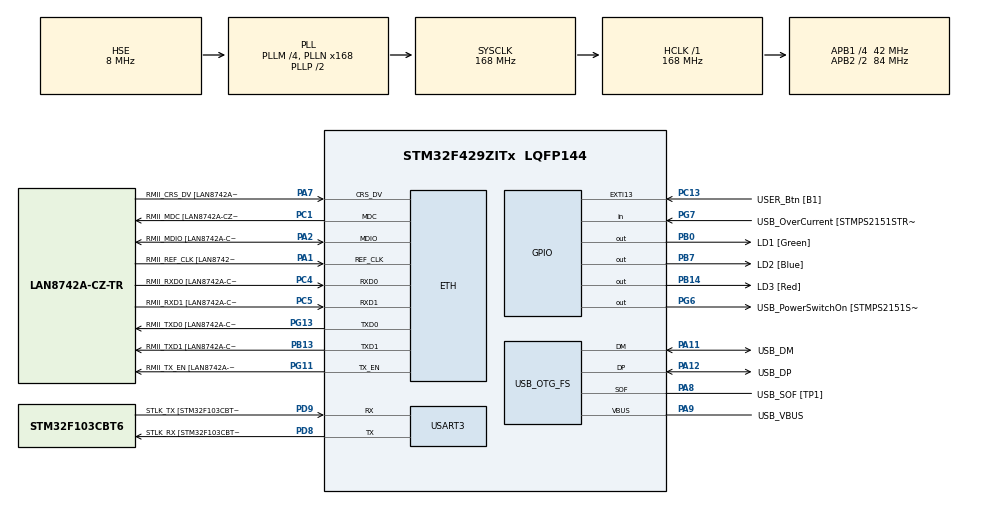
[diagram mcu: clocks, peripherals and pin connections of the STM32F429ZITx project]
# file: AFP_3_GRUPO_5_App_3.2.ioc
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ETH.MediaInterface=HAL_ETH_RMII_MODE
ETH.PHY_Name=LAN8742A_PHY_ADDRESS
ETH.PHY_Value=0
ETH.PhyAddress=0
Mcu.Family=STM32F4
Mcu.Name=STM32F429ZITx
Mcu.Package=LQFP144
NVIC.PriorityGroup=NVIC_PRIORITYGROUP_4
PA1.GPIO_Label=RMII_REF_CLK [LAN8742A-CZ-TR_REFCLK0]
PA1.Mode=RMII
PA1.Signal=ETH_REF_CLK
PA10.GPIO_Label=USB_ID
PA10.Signal=USB_OTG_FS_ID
PA11.GPIO_Label=USB_DM
PA11.Mode=Device_Only
PA11.Signal=USB_OTG_FS_DM
PA12.GPIO_Label=USB_DP
PA12.Mode=Device_Only
PA12.Signal=USB_OTG_FS_DP
PA13.GPIO_Label=TMS
PA13.Mode=Serial_Wire
PA13.Signal=SYS_JTMS-SWDIO
PA14.GPIO_Label=TCK
PA14.Mode=Serial_Wire
PA14.Signal=SYS_JTCK-SWCLK
PA2.GPIO_Label=RMII_MDIO [LAN8742A-CZ-TR_MDIO]
PA2.Mode=RMII
PA2.Signal=ETH_MDIO
PA7.GPIO_Label=RMII_CRS_DV [LAN8742A-CZ-TR_CRS_DV]
PA7.Mode=RMII
PA7.Signal=ETH_CRS_DV
PA8.GPIO_Label=USB_SOF [TP1]
PA8.Mode=Activate_SOF_FS
PA8.Signal=USB_OTG_FS_SOF
PA9.GPIO_Label=USB_VBUS
PA9.Mode=Activate_VBUS
PA9.Signal=USB_OTG_FS_VBUS
PB0.GPIO_Label=LD1 [Green]
PB0.Signal=GPIO_Output
PB13.GPIO_Label=RMII_TXD1 [LAN8742A-CZ-TR_TXD1]
PB13.Mode=RMII
PB13.Signal=ETH_TXD1
PB14.GPIO_Label=LD3 [Red]
PB14.Signal=GPIO_Output
PB7.GPIO_Label=LD2 [Blue]
PB7.Signal=GPIO_Output
PC1.GPIO_Label=RMII_MDC [LAN8742A-CZ-TR_MDC]
PC1.Mode=RMII
PC1.Signal=ETH_MDC
PC13.GPIO_Label=USER_Btn [B1]
PC13.Signal=GPXTI13
PC14/OSC32_IN.Mode=LSE-External-Oscillator
PC14/OSC32_IN.Signal=RCC_OSC32_IN
PC15/OSC32_OUT.Mode=LSE-External-Oscillator
PC15/OSC32_OUT.Signal=RCC_OSC32_OUT
PC4.GPIO_Label=RMII_RXD0 [LAN8742A-CZ-TR_RXD0]
PC4.Mode=RMII
PC4.Signal=ETH_RXD0
PC5.GPIO_Label=RMII_RXD1 [LAN8742A-CZ-TR_RXD1]
PC5.Mode=RMII
PC5.Signal=ETH_RXD1
PD8.GPIO_Label=STLK_RX [STM32F103CBT6_PA3]
PD8.Mode=Asynchronous
PD8.Signal=USART3_TX
PD9.GPIO_Label=STLK_TX [STM32F103CBT6_PA2]
PD9.Mode=Asynchronous
PD9.Signal=USART3_RX
PG11.GPIO_Label=RMII_TX_EN [LAN8742A-CZ-TR_TXEN]
PG11.Mode=RMII
PG11.Signal=ETH_TX_EN
PG13.GPIO_Label=RMII_TXD0 [LAN8742A-CZ-TR_TXD0]
PG13.Mode=RMII
PG13.Signal=ETH_TXD0
PG6.GPIO_Label=USB_PowerSwitchOn [STMPS2151STR_EN]
PG6.Signal=GPIO_Output
PG7.GPIO_Label=USB_OverCurrent [STMPS2151STR_FAULT]
PG7.Signal=GPIO_Input
PH0/OSC_IN.GPIO_Label=MCO [STM32F103CBT6_PA8]
PH0/OSC_IN.Mode=HSE-External-Clock-Source
PH0/OSC_IN.Signal=RCC_OSC_IN
PH1/OSC_OUT.Mode=HSE-External-Clock-Source
PH1/OSC_OUT.Signal=RCC_OSC_OUT
ProjectManager.HeapSize=0x200
ProjectManager.StackSize=0x400
ProjectManager.TargetToolchain=STM32CubeIDE
RCC.48MHZClocksFreq_Value=48000000
RCC.AHBFreq_Value=168000000
RCC.APB1CLKDivider=RCC_HCLK_DIV4
RCC.APB1Freq_Value=42000000
RCC.APB1TimFreq_Value=84000000
RCC.APB2CLKDivider=RCC_HCLK_DIV2
RCC.APB2Freq_Value=84000000
RCC.APB2TimCLKDivider=2
RCC.APB2TimFreq_Value=168000000
RCC.CortexFreq_Value=168000000
RCC.HCLKFreq_Value=168000000
RCC.HSE_VALUE=8000000
RCC.HSI_VALUE=16000000
RCC.PLLM=4
RCC.PLLMUL=RCC_PLL_MUL9
RCC.PLLN=168
RCC.PLLQ=7
RCC.PRESCALERUSB=RCC_USBCLKSOURCE_PLL_DIV1_5
RCC.SYSCLKFreq_VALUE=168000000
RCC.SYSCLKSource=RCC_SYSCLKSOURCE_PLLCLK
RCC.SYSCLKSourceVirtual=RCC_SYSCLKSOURCE_PLLCLK
RCC.USBFreq_Value=48000000
RCC.VCOOutputFreq_Value=336000000
USART3.VirtualMode=VM_ASYNC
USB_OTG_FS.VirtualMode=Device_Only
board=NUCLEO-F429ZI

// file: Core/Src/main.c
/* USER CODE BEGIN Header */
/**
  ******************************************************************************
  * @file           : main.c
  * @brief          : Main program body
  ******************************************************************************
  * @attention
  *
  * Copyright (c) 2024 STMicroelectronics.
  * All rights reserved.
  *
  * This software is licensed under terms that can be found in the LICENSE file
  * in the root directory of this software component.
  * If no LICENSE file comes with this software, it is provided AS-IS.
  *
  ******************************************************************************
  */
/* USER CODE END Header */
#include "main.h"
#include "string.h"
#include "API_GPIO.h"
#include "API_Delay.h"

ETH_TxPacketConfig TxConfig;
ETH_DMADescTypeDef  DMARxDscrTab[ETH_RX_DESC_CNT]; /* Ethernet Rx DMA Descriptors */
ETH_DMADescTypeDef  DMATxDscrTab[ETH_TX_DESC_CNT]; /* Ethernet Tx DMA Descriptors */

ETH_HandleTypeDef heth;

UART_HandleTypeDef huart3;

PCD_HandleTypeDef hpcd_USB_OTG_FS;

void SystemClock_Config(void);
void MX_GPIO_Init(void);
void MX_ETH_Init(void);
void MX_USART3_UART_Init(void);
void MX_USB_OTG_FS_PCD_Init(void);

int main(void)
{

  /* MCU Configuration--------------------------------------------------------*/

  /* Reset of all peripherals, Initializes the Flash interface and the Systick. */
  HAL_Init();

  /* Configure the system clock */
  SystemClock_Config();

  /* Initialize all configured peripherals */
  MX_GPIO_Init();
  MX_ETH_Init();
  MX_USART3_UART_Init();
  MX_USB_OTG_FS_PCD_Init();
  /* USER CODE BEGIN 2 */

  uint16_t vector_leds[CANT_LEDS] = {LD1_Pin, LD2_Pin, LD3_Pin};
  uint8_t led_actual = 0;
  bool_t sentido = true;

  delay_t timer_secuencia;
  delay_t lectura_boton;

  delayInit(&timer_secuencia, Delay_ms);
  delayInit(&lectura_boton, 40);

  buttonStatus_t estado_boton;
  bool_t boton_bloqueado = false;

  bool_t estado_led = false;

  /* USER CODE END 2 */

  /* Infinite loop */
  /* USER CODE BEGIN WHILE */
  while (1)
  {

	  if(readButton_GPIO()){
		  if(delayRead(&lectura_boton) && !boton_bloqueado){
			  estado_boton = true;
			  boton_bloqueado = true;
		  }
	  }else{
		  boton_bloqueado = false;
	  }

	  if(estado_boton){
		  sentido = !sentido;
		  estado_boton = false;
	  }

	  /* Secuencia */
	  if(delayRead(&timer_secuencia)){
		  if(estado_led){
			  writeLedOff_GPIO(vector_leds[led_actual]);

			  /* Seleccionar el siguiente led de la secuencia*/
			  if(sentido){
				  if(led_actual == (CANT_LEDS-1)){
					  led_actual = 0;
				  }else{
					  led_actual++;
				  }
			  }else{
				  if(led_actual == 0){
					  led_actual = (CANT_LEDS-1);
				  }else{
					  led_actual--;
				  }
			  }

			  estado_led = false;
		  }else{
			  writeLedOn_GPIO(vector_leds[led_actual]);
			  estado_led = true;
		  }
	  }
    /* USER CODE END WHILE */

  }
}
void SystemClock_Config(void)
{
  RCC_OscInitTypeDef RCC_OscInitStruct = {0};
  RCC_ClkInitTypeDef RCC_ClkInitStruct = {0};

  /** Configure the main internal regulator output voltage
  */
  __HAL_RCC_PWR_CLK_ENABLE();
  __HAL_PWR_VOLTAGESCALING_CONFIG(PWR_REGULATOR_VOLTAGE_SCALE1);

  /** Initializes the RCC Oscillators according to the specified parameters
  * in the RCC_OscInitTypeDef structure.
  */
  RCC_OscInitStruct.OscillatorType = RCC_OSCILLATORTYPE_HSE;
  RCC_OscInitStruct.HSEState = RCC_HSE_BYPASS;
  RCC_OscInitStruct.PLL.PLLState = RCC_PLL_ON;
  RCC_OscInitStruct.PLL.PLLSource = RCC_PLLSOURCE_HSE;
  RCC_OscInitStruct.PLL.PLLM = 4;
  RCC_OscInitStruct.PLL.PLLN = 168;
  RCC_OscInitStruct.PLL.PLLP = RCC_PLLP_DIV2;
  RCC_OscInitStruct.PLL.PLLQ = 7;
  if (HAL_RCC_OscConfig(&RCC_OscInitStruct) != HAL_OK)
  {
    Error_Handler();
  }

  /** Initializes the CPU, AHB and APB buses clocks
  */
  RCC_ClkInitStruct.ClockType = RCC_CLOCKTYPE_HCLK|RCC_CLOCKTYPE_SYSCLK
                              |RCC_CLOCKTYPE_PCLK1|RCC_CLOCKTYPE_PCLK2;
  RCC_ClkInitStruct.SYSCLKSource = RCC_SYSCLKSOURCE_PLLCLK;
  RCC_ClkInitStruct.AHBCLKDivider = RCC_SYSCLK_DIV1;
  RCC_ClkInitStruct.APB1CLKDivider = RCC_HCLK_DIV4;
  RCC_ClkInitStruct.APB2CLKDivider = RCC_HCLK_DIV2;

  if (HAL_RCC_ClockConfig(&RCC_ClkInitStruct, FLASH_LATENCY_5) != HAL_OK)
  {
    Error_Handler();
  }
}

void MX_ETH_Init(void)
{

   static uint8_t MACAddr[6];

  heth.Instance = ETH;
  MACAddr[0] = 0x00;
  MACAddr[1] = 0x80;
  MACAddr[2] = 0xE1;
  MACAddr[3] = 0x00;
  MACAddr[4] = 0x00;
  MACAddr[5] = 0x00;
  heth.Init.MACAddr = &MACAddr[0];
  heth.Init.MediaInterface = HAL_ETH_RMII_MODE;
  heth.Init.TxDesc = DMATxDscrTab;
  heth.Init.RxDesc = DMARxDscrTab;
  heth.Init.RxBuffLen = 1524;

  if (HAL_ETH_Init(&heth) != HAL_OK)
  {
    Error_Handler();
  }

  memset(&TxConfig, 0 , sizeof(ETH_TxPacketConfig));
  TxConfig.Attributes = ETH_TX_PACKETS_FEATURES_CSUM | ETH_TX_PACKETS_FEATURES_CRCPAD;
  TxConfig.ChecksumCtrl = ETH_CHECKSUM_IPHDR_PAYLOAD_INSERT_PHDR_CALC;
  TxConfig.CRCPadCtrl = ETH_CRC_PAD_INSERT;

}

void MX_USART3_UART_Init(void)
{

  huart3.Instance = USART3;
  huart3.Init.BaudRate = 115200;
  huart3.Init.WordLength = UART_WORDLENGTH_8B;
  huart3.Init.StopBits = UART_STOPBITS_1;
  huart3.Init.Parity = UART_PARITY_NONE;
  huart3.Init.Mode = UART_MODE_TX_RX;
  huart3.Init.HwFlowCtl = UART_HWCONTROL_NONE;
  huart3.Init.OverSampling = UART_OVERSAMPLING_16;
  if (HAL_UART_Init(&huart3) != HAL_OK)
  {
    Error_Handler();
  }

}

void MX_USB_OTG_FS_PCD_Init(void)
{

  hpcd_USB_OTG_FS.Instance = USB_OTG_FS;
  hpcd_USB_OTG_FS.Init.dev_endpoints = 4;
  hpcd_USB_OTG_FS.Init.speed = PCD_SPEED_FULL;
  hpcd_USB_OTG_FS.Init.dma_enable = DISABLE;
  hpcd_USB_OTG_FS.Init.phy_itface = PCD_PHY_EMBEDDED;
  hpcd_USB_OTG_FS.Init.Sof_enable = ENABLE;
  hpcd_USB_OTG_FS.Init.low_power_enable = DISABLE;
  hpcd_USB_OTG_FS.Init.lpm_enable = DISABLE;
  hpcd_USB_OTG_FS.Init.vbus_sensing_enable = ENABLE;
  hpcd_USB_OTG_FS.Init.use_dedicated_ep1 = DISABLE;
  if (HAL_PCD_Init(&hpcd_USB_OTG_FS) != HAL_OK)
  {
    Error_Handler();
  }

}

void Error_Handler(void)
{
  __disable_irq();
  while (1)
  {
  }
}
